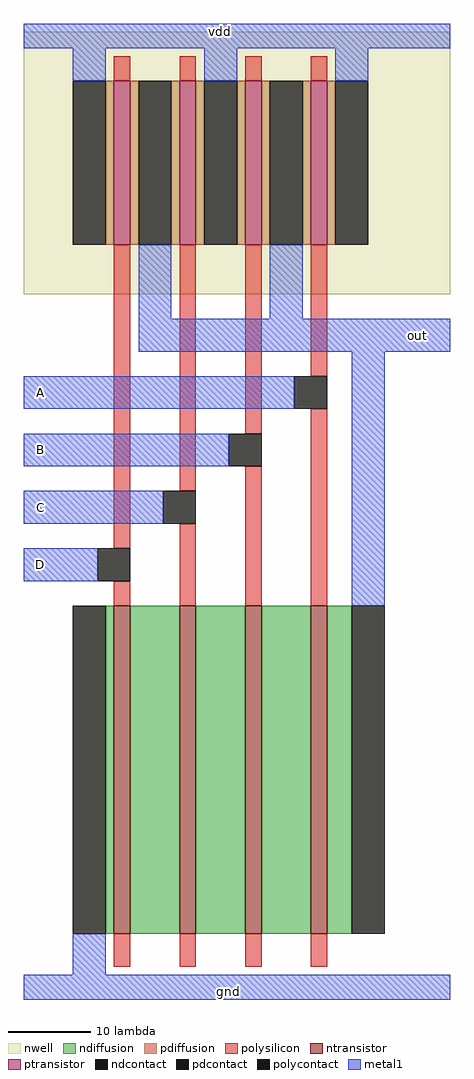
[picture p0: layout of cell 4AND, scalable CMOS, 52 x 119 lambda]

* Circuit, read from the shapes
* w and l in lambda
.subckt 4AND A B C D gnd out vdd
M1 n1 D gnd VSUBS nfet w=40 l=2
M2 n2 C n1 VSUBS nfet w=40 l=2
M3 n3 B n2 VSUBS nfet w=40 l=2
M4 out A n3 VSUBS nfet w=40 l=2
M5 out D vdd n4 pfet w=20 l=2
M6 vdd C out n4 pfet w=20 l=2
M7 out B vdd n4 pfet w=20 l=2
M8 vdd A out n4 pfet w=20 l=2
.ends

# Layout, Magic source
magic
tech scmos
<< nwell >>
rect 0 0 52 32
<< ntransistor >>
rect 11 -78 13 -38
rect 19 -78 21 -38
rect 27 -78 29 -38
rect 35 -78 37 -38
<< ptransistor >>
rect 11 6 13 26
rect 19 6 21 26
rect 27 6 29 26
rect 35 6 37 26
<< ndiffusion >>
rect 10 -78 11 -38
rect 13 -78 19 -38
rect 21 -78 27 -38
rect 29 -78 35 -38
rect 37 -78 40 -38
<< pdiffusion >>
rect 10 6 11 26
rect 13 6 14 26
rect 18 6 19 26
rect 21 6 22 26
rect 26 6 27 26
rect 29 6 30 26
rect 34 6 35 26
rect 37 6 38 26
<< ndcontact >>
rect 6 -78 10 -38
rect 40 -78 44 -38
<< pdcontact >>
rect 6 6 10 26
rect 14 6 18 26
rect 22 6 26 26
rect 30 6 34 26
rect 38 6 42 26
<< polysilicon >>
rect 11 26 13 29
rect 19 26 21 29
rect 27 26 29 29
rect 35 26 37 29
rect 11 -31 13 6
rect 19 -24 21 6
rect 27 -17 29 6
rect 35 -10 37 6
rect 11 -38 13 -35
rect 19 -38 21 -28
rect 27 -38 29 -21
rect 35 -38 37 -14
rect 11 -82 13 -78
rect 19 -82 21 -78
rect 27 -82 29 -78
rect 35 -82 37 -78
<< polycontact >>
rect 33 -14 37 -10
rect 25 -21 29 -17
rect 17 -28 21 -24
rect 9 -35 13 -31
<< metal1 >>
rect 0 30 52 33
rect 6 26 10 30
rect 22 26 26 30
rect 38 26 42 30
rect 14 -3 18 6
rect 30 -3 34 6
rect 14 -7 52 -3
rect 0 -14 33 -10
rect 0 -21 25 -17
rect 0 -28 17 -24
rect 0 -35 9 -31
rect 40 -38 44 -7
rect 6 -83 10 -78
rect 0 -86 52 -83
<< labels >>
rlabel metal1 2 -12 2 -12 3 A
rlabel metal1 2 -19 2 -19 3 B
rlabel metal1 2 -26 2 -26 3 C
rlabel metal1 2 -33 2 -33 3 D
rlabel metal1 48 -5 48 -5 7 out
rlabel metal1 25 -85 25 -85 1 gnd
rlabel metal1 24 32 24 32 5 vdd
<< end >>
